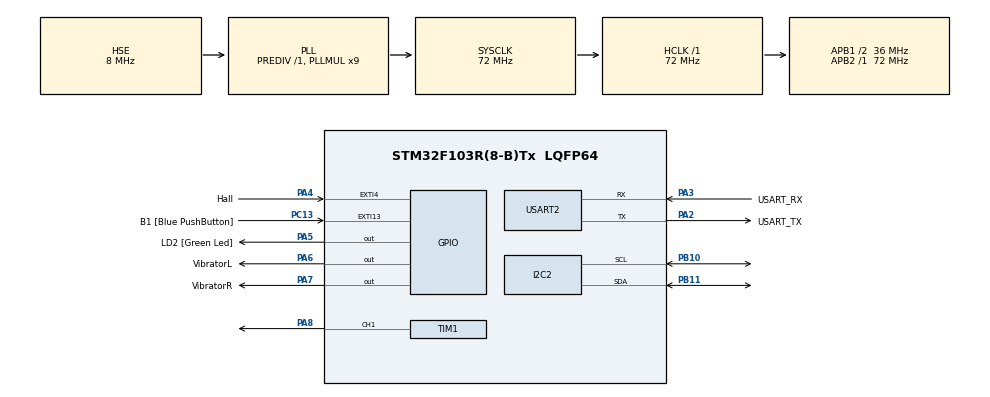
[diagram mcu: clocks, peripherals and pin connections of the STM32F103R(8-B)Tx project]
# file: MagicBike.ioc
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Mcu.Family=STM32F1
PA2.GPIO_PuPd=GPIO_NOPULL
PB10.Mode=I2C
PA14.GPIO_Label=TCK
PA3.GPIO_PuPd=GPIO_NOPULL
PA2.GPIO_Speed=GPIO_SPEED_FREQ_LOW
Dma.TIM1_CH1.0.MemDataAlignment=DMA_MDATAALIGN_HALFWORD
PA6.GPIO_Label=VibratorL
PB11.Signal=I2C2_SDA
PA3.GPIO_Speed=GPIO_SPEED_FREQ_LOW
RCC.SYSCLKSource=RCC_SYSCLKSOURCE_PLLCLK
ProjectManager.StackSize=0x400
PD1-OSC_OUT.Signal=RCC_OSC_OUT
Dma.TIM1_CH1.0.MemInc=DMA_MINC_ENABLE
RCC.HCLKFreq_Value=72000000
RCC.APB2TimFreq_Value=72000000
RCC.AHBFreq_Value=72000000
NVIC.EXTI15_10_IRQn=true\:0\:0\:false\:false\:true\:true\:true
RCC.RTCClockSelection=RCC_RTCCLKSOURCE_LSE
RCC.PLLMUL=RCC_PLL_MUL9
PC14-OSC32_IN.Mode=LSE-External-Oscillator
TIM1.Channel-PWM\ Generation1\ CH1=TIM_CHANNEL_1
PA14.Mode=Serial_Wire
PA5.GPIO_PuPd=GPIO_NOPULL
NVIC.TIM2_IRQn=true\:0\:0\:false\:false\:true\:true\:true
PA8.Signal=S_TIM1_CH1
VP_TIM1_VS_ClockSourceINT.Mode=Internal
Mcu.Package=LQFP64
TIM2.Prescaler=7199
PA6.Signal=GPIO_Output
USART2.VirtualMode=VM_ASYNC
PC13-TAMPER-RTC.GPIO_PuPd=GPIO_NOPULL
PA2.GPIO_Label=USART_TX
RCC.APB1TimFreq_Value=72000000
TIM1.Period=72-1
Dma.Request0=TIM1_CH1
PA4.GPIO_Label=Hall
PA3.Signal=USART2_RX
PA2.GPIO_Mode=GPIO_MODE_AF_PP
PB3.GPIO_Label=SWO
RCC.PLLSourceVirtual=RCC_PLLSOURCE_HSE
PC15-OSC32_OUT.Mode=LSE-External-Oscillator
NVIC.EXTI4_IRQn=true\:0\:0\:false\:false\:true\:true\:true
PD1-OSC_OUT.Mode=HSE-External-Clock-Source
PC13-TAMPER-RTC.Signal=GPXTI13
PD0-OSC_IN.Signal=RCC_OSC_IN
RCC.APB1CLKDivider=RCC_HCLK_DIV2
PC14-OSC32_IN.Signal=RCC_OSC32_IN
Dma.TIM1_CH1.0.PeriphDataAlignment=DMA_PDATAALIGN_HALFWORD
NVIC.USART2_IRQn=true\:0\:0\:false\:false\:true\:true\:true
Dma.TIM1_CH1.0.Priority=DMA_PRIORITY_LOW
Dma.TIM1_CH1.0.PeriphInc=DMA_PINC_DISABLE
PA13.Signal=SYS_JTMS-SWDIO
PA3.Mode=Asynchronous
Dma.TIM1_CH1.0.Mode=DMA_NORMAL
SH.S_TIM1_CH1.0=TIM1_CH1,PWM Generation1 CH1
PB11.Mode=I2C
NVIC.DMA1_Channel2_IRQn=true\:0\:0\:false\:false\:true\:false\:true
ProjectManager.TargetToolchain=Makefile
PA3.GPIO_Mode=GPIO_MODE_AF_PP
RCC.USBFreq_Value=72000000
PC15-OSC32_OUT.Signal=RCC_OSC32_OUT
PD0-OSC_IN.Mode=HSE-External-Clock-Source
PB10.Signal=I2C2_SCL
PA5.Signal=GPIO_Output
board=NUCLEO-F103RB
PC13-TAMPER-RTC.GPIO_Label=B1 [Blue PushButton]
RCC.APB2Freq_Value=72000000
PA5.GPIO_ModeDefaultOutputPP=GPIO_MODE_OUTPUT_PP
VP_TIM2_VS_ClockSourceINT.Mode=Internal
TIM2.Period=4999
PA13.Mode=Serial_Wire
Mcu.Name=STM32F103R(8-B)Tx
PA13.GPIO_Label=TMS
PA2.Signal=USART2_TX
Dma.TIM1_CH1.0.Direction=DMA_MEMORY_TO_PERIPH
PB3.Signal=SYS_JTDO-TRACESWO
PA4.Signal=GPXTI4
RCC.SYSCLKFreq_VALUE=72000000
Dma.TIM1_CH1.0.Instance=DMA1_Channel2
PA7.GPIO_Label=VibratorR
PA5.GPIO_Label=LD2 [Green Led]
PA14.Signal=SYS_JTCK-SWCLK
ProjectManager.HeapSize=0x200
PA5.GPIO_Speed=GPIO_SPEED_FREQ_LOW
NVIC.PriorityGroup=NVIC_PRIORITYGROUP_4
PA2.Mode=Asynchronous
RCC.APB1Freq_Value=36000000
PA3.GPIO_Label=USART_RX
PA7.Signal=GPIO_Output

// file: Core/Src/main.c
/* USER CODE BEGIN Header */
/**
 ******************************************************************************
 * @file           : main.c
 * @brief          : Main program body
 ******************************************************************************
 * @attention
 *
 * <h2><center>&copy; Copyright (c) 2022 STMicroelectronics.
 * All rights reserved.</center></h2>
 *
 * This software component is licensed by ST under BSD 3-Clause license,
 * the "License"; You may not use this file except in compliance with the
 * License. You may obtain a copy of the License at:
 *                        opensource.org/licenses/BSD-3-Clause
 *
 ******************************************************************************
 */
/* USER CODE END Header */
#include "main.h"

/* USER CODE BEGIN Includes */
#include <stdio.h>

#include "QMC5883L.h"

/* USER CODE END Includes */

/* USER CODE BEGIN PD */
#define MAX_LED 30
#define single 6
// #define USE_BRIGHTNESS
#define PI 3.14159265
#define channels 1
#define RED 0x30
#define GREEN 0x30
#define BLUE 0x30
// #define debug
/* USER CODE END PD */

I2C_HandleTypeDef hi2c2;

TIM_HandleTypeDef htim1;
TIM_HandleTypeDef htim2;
DMA_HandleTypeDef hdma_tim1_ch1;

UART_HandleTypeDef huart2;

/* USER CODE BEGIN PV */
// int16_t MagX = 0, MagY = 0, MagZ = 0;
QMC_t compass;
volatile int cnt;
uint8_t RxBuffer[1] = {'\0'};
uint8_t flag = '\0';

uint8_t Buffer[25] = {0};
uint8_t Space[] = " - ";
uint8_t StartMSG[] = "Starting I2C Scanning: \r\n";
uint8_t EndMSG[] = "Done! \r\n\r\n";

uint8_t LED_Data[6][MAX_LED][4];
uint8_t LED_Mod[MAX_LED][4];
uint8_t datasentflag[channels] = {0};
uint16_t pwmData[(24 * MAX_LED) + 50];
/* USER CODE END PV */

void SystemClock_Config(void);
static void MX_GPIO_Init(void);
static void MX_DMA_Init(void);
static void MX_USART2_UART_Init(void);
static void MX_TIM2_Init(void);
static void MX_I2C2_Init(void);
static void MX_TIM1_Init(void);
/* USER CODE BEGIN PFP */
void Set_LED(int LED, int LEDnum, int Red, int Green, int Blue) {
    LED_Data[LED][LEDnum][0] = LEDnum;
    LED_Data[LED][LEDnum][1] = Green;
    LED_Data[LED][LEDnum][2] = Red;
    LED_Data[LED][LEDnum][3] = Blue;
}

void WS2812_Send(int LED) {
    uint32_t indx = 0;
    uint32_t color;

    for (int i = 0; i < MAX_LED; i++) {
#ifdef USE_BRIGHTNESS
        color = ((LED_Mod[LED][i][1] << 16) | (LED_Mod[LED][i][2] << 8) |
                 (LED_Mod[LED][i][3]));
#else
        color = ((LED_Data[LED][i][1] << 16) | (LED_Data[LED][i][2] << 8) |
                 (LED_Data[LED][i][3]));
#endif

        for (int i = 23; i >= 0; i--) {
            if (color & (1 << i)) {
                pwmData[indx] = 60;  // 2/3 of 90
            }

            else
                pwmData[indx] = 30;  // 1/3 of 90

            indx++;
        }
    }

    for (int i = 0; i < 50; i++) {
        pwmData[indx] = 0;
        indx++;
    }

    HAL_TIM_PWM_Start_DMA(&htim1, TIM_CHANNEL_1, (uint32_t *)pwmData, indx);
    while (!datasentflag[0]) {
        continue;
    }
    for (int i = 0; i < channels; ++i) datasentflag[i] = 0;
}
/* USER CODE END PFP */

int main(void) {
/* USER CODE BEGIN 1 */
#ifdef debug
    uint8_t i2cAddr = 0, ret;
#endif
    /* USER CODE END 1 */

    /* MCU
     * Configuration--------------------------------------------------------*/

    /* Reset of all peripherals, Initializes the Flash interface and the
     * Systick. */
    HAL_Init();

    /* USER CODE BEGIN Init */
    for (int i = 0; i < 5; ++i) {
        for (int j = 0; j < MAX_LED; ++j) {
            if ((j >= single * i) && (j < single * (i + 1)))
                Set_LED(i, j, RED, GREEN, BLUE);
            else
                Set_LED(i, j, 0, 0, 0);
        }
    }
    for (int i = 0; i < MAX_LED; ++i) Set_LED(5, i, 0, 0, 0);
    /* USER CODE END Init */

    /* Configure the system clock */
    SystemClock_Config();

    /* Initialize all configured peripherals */
    MX_GPIO_Init();
    MX_DMA_Init();
    MX_USART2_UART_Init();
    MX_TIM2_Init();
    MX_I2C2_Init();
    MX_TIM1_Init();
    /* USER CODE BEGIN 2 */
// SECTION - [ I2C Bus Scanning ]
#ifdef debug
    HAL_UART_Transmit(&huart2, StartMSG, sizeof(StartMSG), 10000);
    for (i2cAddr = 1; i2cAddr < 128; i2cAddr++) {
        ret = HAL_I2C_IsDeviceReady(&hi2c2, (uint16_t)(i2cAddr << 1), 3, 5);
        if (ret != HAL_OK) /* No ACK Received At That Address */
        {
            HAL_UART_Transmit(&huart2, Space, sizeof(Space), 10000);
        } else if (ret == HAL_OK) {
            // sprintf(Buffer, "0x%X", i2cAddr);
            HAL_UART_Transmit(&huart2, Buffer, sizeof(Buffer), 10000);
            printf("0x%X", (i2cAddr << 1));
        }
    }
    HAL_UART_Transmit(&huart2, EndMSG, sizeof(EndMSG), 10000);
#endif
    // !SECTION - [ I2C Bus Scanning ]
    HAL_UART_Receive_IT(&huart2, RxBuffer, 1);
    HAL_TIM_Base_Start_IT(&htim2);
    QMC_init(&compass, &hi2c2, 50);
    /* USER CODE END 2 */

    /* Infinite loop */
    /* USER CODE BEGIN WHILE */
    while (1) {
        // SECTION - Compass Reading
        if (QMC_read(&compass) == 0) {
            HAL_GPIO_WritePin(LD2_GPIO_Port, LD2_Pin, GPIO_PIN_SET);
#ifdef debug
            printf("X: %d, Y: %d, breaing: %d\r\n", compass.Xaxis,
                   compass.Yaxis, compass.bearing);
            printf("Xmin: %d, Xmax: %d, Ymin: %d, Ymax: %d\r\n", compass.Xmin,
                   compass.Xmax, compass.Ymin, compass.Ymax);
#endif
        } else {
            HAL_GPIO_WritePin(LD2_GPIO_Port, LD2_Pin, GPIO_PIN_RESET);
        }
        // !SECTION - Compass Reading
        // SECTION - Vibrator control
        if (flag ^ RxBuffer[0]) {
            flag = RxBuffer[0];
            if ((char)flag == '1') {
                HAL_GPIO_WritePin(VibratorL_GPIO_Port, VibratorL_Pin,
                                  GPIO_PIN_SET);
                WS2812_Send(4);
            } else if ((char)flag == '2') {
                HAL_GPIO_WritePin(VibratorL_GPIO_Port, VibratorL_Pin,
                                  GPIO_PIN_SET);
                WS2812_Send(3);
            } else if ((char)flag == '3') {
                WS2812_Send(2);
            } else if ((char)flag == '4') {
                HAL_GPIO_WritePin(VibratorR_GPIO_Port, VibratorR_Pin,
                                  GPIO_PIN_SET);
                WS2812_Send(1);
            } else if ((char)flag == '5') {
                HAL_GPIO_WritePin(VibratorR_GPIO_Port, VibratorR_Pin,
                                  GPIO_PIN_SET);
                WS2812_Send(0);
            } else if ((char)flag == '6' || (char)flag == '7') {
                HAL_GPIO_WritePin(VibratorL_GPIO_Port, VibratorL_Pin,
                                  GPIO_PIN_RESET);
                WS2812_Send(5);
            } else if ((char)flag == '8') {
                WS2812_Send(5);
            } else if ((char)flag == '9' || (char)flag == '0') {
                HAL_GPIO_WritePin(VibratorR_GPIO_Port, VibratorR_Pin,
                                  GPIO_PIN_RESET);
                WS2812_Send(5);
            } else {
                HAL_GPIO_WritePin(VibratorL_GPIO_Port, VibratorL_Pin,
                                  GPIO_PIN_RESET);
                HAL_GPIO_WritePin(VibratorR_GPIO_Port, VibratorR_Pin,
                                  GPIO_PIN_RESET);
                WS2812_Send(5);
            }
        }
        // !SECTION - Vibrator control
        /* USER CODE END WHILE */

    }
}

void SystemClock_Config(void) {
    RCC_OscInitTypeDef RCC_OscInitStruct = {0};
    RCC_ClkInitTypeDef RCC_ClkInitStruct = {0};

    /** Initializes the RCC Oscillators according to the specified parameters
     * in the RCC_OscInitTypeDef structure.
     */
    RCC_OscInitStruct.OscillatorType = RCC_OSCILLATORTYPE_HSE;
    RCC_OscInitStruct.HSEState = RCC_HSE_BYPASS;
    RCC_OscInitStruct.HSEPredivValue = RCC_HSE_PREDIV_DIV1;
    RCC_OscInitStruct.HSIState = RCC_HSI_ON;
    RCC_OscInitStruct.PLL.PLLState = RCC_PLL_ON;
    RCC_OscInitStruct.PLL.PLLSource = RCC_PLLSOURCE_HSE;
    RCC_OscInitStruct.PLL.PLLMUL = RCC_PLL_MUL9;
    if (HAL_RCC_OscConfig(&RCC_OscInitStruct) != HAL_OK) {
        Error_Handler();
    }
    /** Initializes the CPU, AHB and APB buses clocks
     */
    RCC_ClkInitStruct.ClockType = RCC_CLOCKTYPE_HCLK | RCC_CLOCKTYPE_SYSCLK |
                                  RCC_CLOCKTYPE_PCLK1 | RCC_CLOCKTYPE_PCLK2;
    RCC_ClkInitStruct.SYSCLKSource = RCC_SYSCLKSOURCE_PLLCLK;
    RCC_ClkInitStruct.AHBCLKDivider = RCC_SYSCLK_DIV1;
    RCC_ClkInitStruct.APB1CLKDivider = RCC_HCLK_DIV2;
    RCC_ClkInitStruct.APB2CLKDivider = RCC_HCLK_DIV1;

    if (HAL_RCC_ClockConfig(&RCC_ClkInitStruct, FLASH_LATENCY_2) != HAL_OK) {
        Error_Handler();
    }
}

static void MX_I2C2_Init(void) {

    hi2c2.Instance = I2C2;
    hi2c2.Init.ClockSpeed = 100000;
    hi2c2.Init.DutyCycle = I2C_DUTYCYCLE_2;
    hi2c2.Init.OwnAddress1 = 0;
    hi2c2.Init.AddressingMode = I2C_ADDRESSINGMODE_7BIT;
    hi2c2.Init.DualAddressMode = I2C_DUALADDRESS_DISABLE;
    hi2c2.Init.OwnAddress2 = 0;
    hi2c2.Init.GeneralCallMode = I2C_GENERALCALL_DISABLE;
    hi2c2.Init.NoStretchMode = I2C_NOSTRETCH_DISABLE;
    if (HAL_I2C_Init(&hi2c2) != HAL_OK) {
        Error_Handler();
    }
}

static void MX_TIM1_Init(void) {

    TIM_ClockConfigTypeDef sClockSourceConfig = {0};
    TIM_MasterConfigTypeDef sMasterConfig = {0};
    TIM_OC_InitTypeDef sConfigOC = {0};
    TIM_BreakDeadTimeConfigTypeDef sBreakDeadTimeConfig = {0};

    htim1.Instance = TIM1;
    htim1.Init.Prescaler = 0;
    htim1.Init.CounterMode = TIM_COUNTERMODE_UP;
    htim1.Init.Period = 72 - 1;
    htim1.Init.ClockDivision = TIM_CLOCKDIVISION_DIV1;
    htim1.Init.RepetitionCounter = 0;
    htim1.Init.AutoReloadPreload = TIM_AUTORELOAD_PRELOAD_DISABLE;
    if (HAL_TIM_Base_Init(&htim1) != HAL_OK) {
        Error_Handler();
    }
    sClockSourceConfig.ClockSource = TIM_CLOCKSOURCE_INTERNAL;
    if (HAL_TIM_ConfigClockSource(&htim1, &sClockSourceConfig) != HAL_OK) {
        Error_Handler();
    }
    if (HAL_TIM_PWM_Init(&htim1) != HAL_OK) {
        Error_Handler();
    }
    sMasterConfig.MasterOutputTrigger = TIM_TRGO_RESET;
    sMasterConfig.MasterSlaveMode = TIM_MASTERSLAVEMODE_DISABLE;
    if (HAL_TIMEx_MasterConfigSynchronization(&htim1, &sMasterConfig) !=
        HAL_OK) {
        Error_Handler();
    }
    sConfigOC.OCMode = TIM_OCMODE_PWM1;
    sConfigOC.Pulse = 0;
    sConfigOC.OCPolarity = TIM_OCPOLARITY_HIGH;
    sConfigOC.OCNPolarity = TIM_OCNPOLARITY_HIGH;
    sConfigOC.OCFastMode = TIM_OCFAST_DISABLE;
    sConfigOC.OCIdleState = TIM_OCIDLESTATE_RESET;
    sConfigOC.OCNIdleState = TIM_OCNIDLESTATE_RESET;
    if (HAL_TIM_PWM_ConfigChannel(&htim1, &sConfigOC, TIM_CHANNEL_1) !=
        HAL_OK) {
        Error_Handler();
    }
    sBreakDeadTimeConfig.OffStateRunMode = TIM_OSSR_DISABLE;
    sBreakDeadTimeConfig.OffStateIDLEMode = TIM_OSSI_DISABLE;
    sBreakDeadTimeConfig.LockLevel = TIM_LOCKLEVEL_OFF;
    sBreakDeadTimeConfig.DeadTime = 0;
    sBreakDeadTimeConfig.BreakState = TIM_BREAK_DISABLE;
    sBreakDeadTimeConfig.BreakPolarity = TIM_BREAKPOLARITY_HIGH;
    sBreakDeadTimeConfig.AutomaticOutput = TIM_AUTOMATICOUTPUT_DISABLE;
    if (HAL_TIMEx_ConfigBreakDeadTime(&htim1, &sBreakDeadTimeConfig) !=
        HAL_OK) {
        Error_Handler();
    }
    HAL_TIM_MspPostInit(&htim1);
}

static void MX_TIM2_Init(void) {

    TIM_ClockConfigTypeDef sClockSourceConfig = {0};
    TIM_MasterConfigTypeDef sMasterConfig = {0};

    htim2.Instance = TIM2;
    htim2.Init.Prescaler = 7199;
    htim2.Init.CounterMode = TIM_COUNTERMODE_UP;
    htim2.Init.Period = 4999;
    htim2.Init.ClockDivision = TIM_CLOCKDIVISION_DIV1;
    htim2.Init.AutoReloadPreload = TIM_AUTORELOAD_PRELOAD_DISABLE;
    if (HAL_TIM_Base_Init(&htim2) != HAL_OK) {
        Error_Handler();
    }
    sClockSourceConfig.ClockSource = TIM_CLOCKSOURCE_INTERNAL;
    if (HAL_TIM_ConfigClockSource(&htim2, &sClockSourceConfig) != HAL_OK) {
        Error_Handler();
    }
    sMasterConfig.MasterOutputTrigger = TIM_TRGO_RESET;
    sMasterConfig.MasterSlaveMode = TIM_MASTERSLAVEMODE_DISABLE;
    if (HAL_TIMEx_MasterConfigSynchronization(&htim2, &sMasterConfig) !=
        HAL_OK) {
        Error_Handler();
    }
}

static void MX_USART2_UART_Init(void) {

    huart2.Instance = USART2;
    huart2.Init.BaudRate = 115200;
    huart2.Init.WordLength = UART_WORDLENGTH_8B;
    huart2.Init.StopBits = UART_STOPBITS_1;
    huart2.Init.Parity = UART_PARITY_NONE;
    huart2.Init.Mode = UART_MODE_TX_RX;
    huart2.Init.HwFlowCtl = UART_HWCONTROL_NONE;
    huart2.Init.OverSampling = UART_OVERSAMPLING_16;
    if (HAL_UART_Init(&huart2) != HAL_OK) {
        Error_Handler();
    }
}

static void MX_DMA_Init(void) {
    /* DMA controller clock enable */
    __HAL_RCC_DMA1_CLK_ENABLE();

    /* DMA interrupt init */
    /* DMA1_Channel2_IRQn interrupt configuration */
    HAL_NVIC_SetPriority(DMA1_Channel2_IRQn, 0, 0);
    HAL_NVIC_EnableIRQ(DMA1_Channel2_IRQn);
}

static void MX_GPIO_Init(void) {
    GPIO_InitTypeDef GPIO_InitStruct = {0};

    /* GPIO Ports Clock Enable */
    __HAL_RCC_GPIOC_CLK_ENABLE();
    __HAL_RCC_GPIOD_CLK_ENABLE();
    __HAL_RCC_GPIOA_CLK_ENABLE();
    __HAL_RCC_GPIOB_CLK_ENABLE();

    /*Configure GPIO pin Output Level */
    HAL_GPIO_WritePin(GPIOA, LD2_Pin | VibratorL_Pin | VibratorR_Pin,
                      GPIO_PIN_RESET);

    /*Configure GPIO pin : B1_Pin */
    GPIO_InitStruct.Pin = B1_Pin;
    GPIO_InitStruct.Mode = GPIO_MODE_IT_RISING;
    GPIO_InitStruct.Pull = GPIO_NOPULL;
    HAL_GPIO_Init(B1_GPIO_Port, &GPIO_InitStruct);

    /*Configure GPIO pin : Hall_Pin */
    GPIO_InitStruct.Pin = Hall_Pin;
    GPIO_InitStruct.Mode = GPIO_MODE_IT_RISING;
    GPIO_InitStruct.Pull = GPIO_NOPULL;
    HAL_GPIO_Init(Hall_GPIO_Port, &GPIO_InitStruct);

    /*Configure GPIO pins : LD2_Pin VibratorL_Pin VibratorR_Pin */
    GPIO_InitStruct.Pin = LD2_Pin | VibratorL_Pin | VibratorR_Pin;
    GPIO_InitStruct.Mode = GPIO_MODE_OUTPUT_PP;
    GPIO_InitStruct.Pull = GPIO_NOPULL;
    GPIO_InitStruct.Speed = GPIO_SPEED_FREQ_LOW;
    HAL_GPIO_Init(GPIOA, &GPIO_InitStruct);

    /* EXTI interrupt init*/
    HAL_NVIC_SetPriority(EXTI4_IRQn, 0, 0);
    HAL_NVIC_EnableIRQ(EXTI4_IRQn);

    HAL_NVIC_SetPriority(EXTI15_10_IRQn, 0, 0);
    HAL_NVIC_EnableIRQ(EXTI15_10_IRQn);
}

/* USER CODE BEGIN 4 */
#ifdef __GNUC__
#define PUTCHAR_PROTOTYPE int __io_putchar(int ch)
#else
#define PUTCHAR_PROTOTYPE int fputc(int ch, FILE *f)
#endif /* __GNUC__ */
PUTCHAR_PROTOTYPE {
    HAL_UART_Transmit(&huart2, (uint8_t *)&ch, 1, 0xFFFF);
    return ch;
}

int _write(int file, char *ptr, int len) {
    int DataIdx;
    for (DataIdx = 0; DataIdx < len; DataIdx++) {
        __io_putchar(*ptr++);
    }
    return len;
}

void HAL_GPIO_EXIT_CALLBACK(uint16_t GPIO_Pin) {
    if (GPIO_Pin == Hall_Pin) {
        cnt++;
    }
}

void HAL_TIM_PeriodElapsedCallback(TIM_HandleTypeDef *htim) {
    printf(" Azimuth: %d\r\n", (int)compass.heading);
    printf(" Bearing: %d\r\n", compass.bearing);
}

void HAL_UART_RxCpltCallback(UART_HandleTypeDef *huart) {
    HAL_UART_Receive_IT(&huart2, RxBuffer, 1);
    printf("Receive : %c\r\n", RxBuffer[0]);
}

void HAL_TIM_PWM_PulseFinishedCallback(TIM_HandleTypeDef *htim) {
    // HAL_TIM_PWM_Stop_DMA(&htim1, TIM_CHANNEL_1);
    HAL_TIM_PWM_Stop_DMA(htim, TIM_CHANNEL_1);
    if (htim == &htim1) datasentflag[0] = 1;
}
/* USER CODE END 4 */

void Error_Handler(void) {
    /* USER CODE BEGIN Error_Handler_Debug */
    /* User can add his own implementation to report the HAL error return
     * state
     */
    __disable_irq();
    while (1) {
    }
    /* USER CODE END Error_Handler_Debug */
}

#ifdef USE_FULL_ASSERT
/**
 * @brief  Reports the name of the source file and the source line number
 *         where the assert_param error has occurred.
 * @param  file: pointer to the source file name
 * @param  line: assert_param error line source number
 * @retval None
 */
void assert_failed(uint8_t *file, uint32_t line) {
    /* USER CODE BEGIN 6 */
    /* User can add his own implementation to report the file name and line
       number, ex: printf("Wrong parameters value: file %s on line %d\r\n",
       file, line) */
    /* USER CODE END 6 */
}
#endif /* USE_FULL_ASSERT */

/************************ (C) COPYRIGHT STMicroelectronics *****END OF FILE****/
